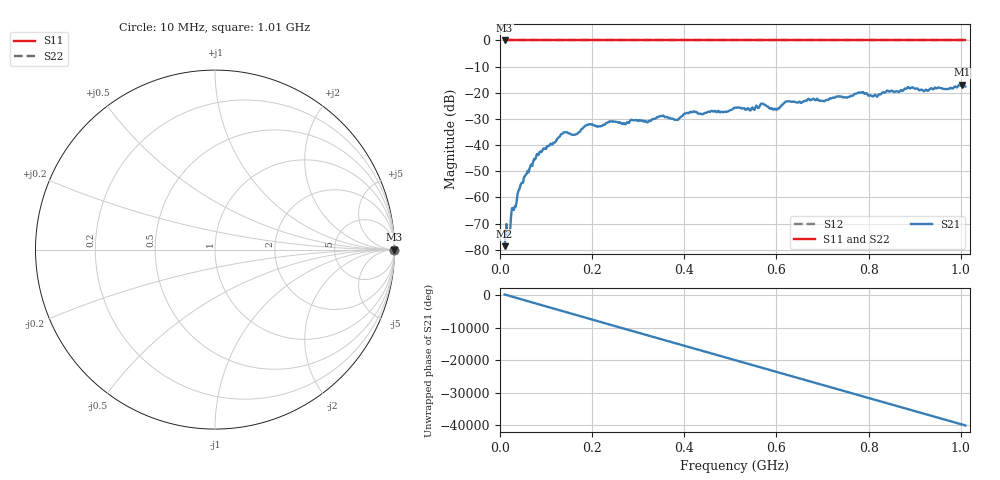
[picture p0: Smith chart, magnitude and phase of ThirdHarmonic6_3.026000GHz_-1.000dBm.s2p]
! 8/17/2025 8:43:25 AM
! C:\ANRITSUVNA\TEMP\TEMP.S2P
! CHANNEL.1
! TR.MEASUREMENT
! RAW.DATA
! RF.CORRECTION.OFF
! AVERAGING.OFF
! IF.BANDWIDTH: 5KHZ
! SWEEPTYPE:  FREQ.SWEEP(Linear)
! Reference Plane Port Info
! PORT:  PORT1  PORT2
! DISTANCE:  0  m  0  m
! TIME:  0  s  0  s
! PHASE.OFFSET:  0  deg.  0  deg.
! LOSS:  0  dB  0  dB
! REF.LOSS:  0  dB  0  dB
! REF.FREQ:  0  Hz  0  Hz
! Power Info
! POWER:  -20  dBm  -20  dBm
! EFF.POWER:  -20  dBm  -20  dBm
! SOURCE.ATTEN:  0  dB  0  dB
! TEST.ATTEN:  0  dB  0  dB
# GHZ S RI R 50.0
! FREQ.GHZ  S11RE  S11IM  S21RE  S21IM  S12RE  S12IM  S22RE  S22IM
!; PortSelection: Port_12
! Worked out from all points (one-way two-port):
!   501 points, 10 MHz to 1.01 GHz, reference 50 ohm
!   highest |S21| = -16.96 dB at 1.002 GHz (marker M1); lowest = -78.7 dB at 10 MHz (marker M2)
!   lowest |S11| = 0.0 dB at 10 MHz (marker M3)
!   |S11| at or under -10 dB: nowhere
!   |S22| runs from 0.0 to 0.0 dB; largest |S21 - S12| = 1.1
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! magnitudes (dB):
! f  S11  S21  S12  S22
! 10 MHz  0.0  -78.7  0.0  0.0
! 20 MHz  0.0  -74.0  0.0  0.0
! 28 MHz  0.0  -64.1  0.0  0.0
! 42 MHz  0.0  -57.0  0.0  0.0
! 78 MHz  0.0  -44.8  0.0  0.0
! 136 MHz  0.0  -35.6  0.0  0.0
! 162 MHz  0.0  -36.0  0.0  0.0
! 178 MHz  0.0  -33.8  0.0  0.0
! 194 MHz  0.0  -32.0  0.0  0.0
! 322 MHz  0.0  -30.9  0.0  0.0
! 344 MHz  0.0  -29.3  0.0  0.0
! 384 MHz  0.0  -30.3  0.0  0.0
! 416 MHz  0.0  -27.5  0.0  0.0
! 510 MHz  0.0  -25.7  0.0  0.0
! 548 MHz  0.0  -25.6  0.0  0.0
! 570 MHz  0.0  -24.1  0.0  0.0
! 596 MHz  0.0  -26.0  0.0  0.0
! 622 MHz  0.0  -23.4  0.0  0.0
! 678 MHz  0.0  -22.5  0.0  0.0
! 844 MHz  0.0  -19.5  0.0  0.0
! 1.002 GHz  0.0  -17.0  0.0  0.0
! 1.01 GHz  0.0  -17.6  0.0  0.0
